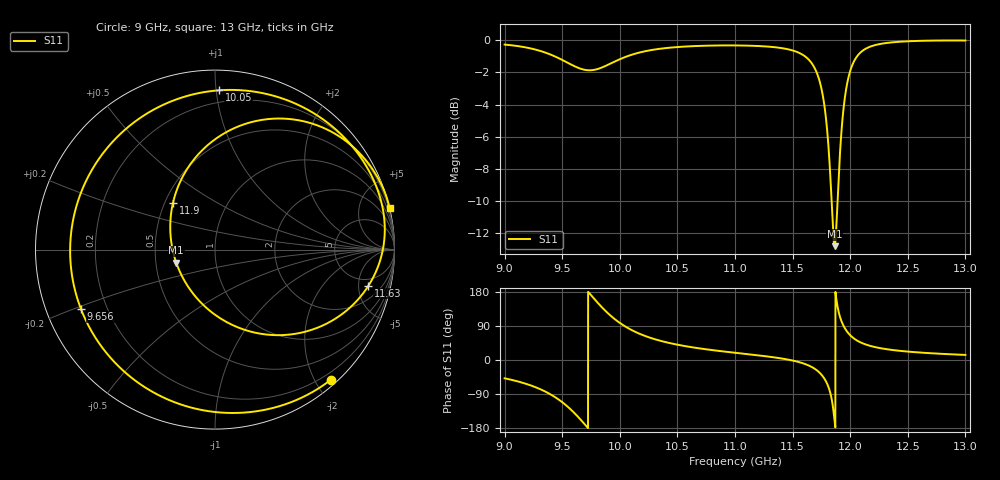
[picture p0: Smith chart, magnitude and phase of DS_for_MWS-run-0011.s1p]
! TOUCHSTONE file generated by CST DESIGN STUDIO
! Date and time: Tue Feb  4 16:42:47 2025
! Project name: C:\Work\MatlabApps\UnitCellOptimizationMatlab\CST\unitcell.cst
! Tree item: Tasks\Sweep1\SPara1\S-Parameters
! Header version: 2024
! Port assignment regex: !\s*Touchstone port\s*([0-9]+)\s*=\s*(CST MWS port|CST DES external port|CST DES block port)\s*(.+)\s* \(\"(.*)\"\)(\s*mode\s*([0-9]+))?.*
! Touchstone port assignment:
! Touchstone port 1 = CST DES external port 1 ("")
# GHz S MA R 50
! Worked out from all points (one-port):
!   4001 points, 9 GHz to 13 GHz, reference 50 ohm
!   lowest |S11| = -12.8 dB at 11.87 GHz (marker M1), VSWR 1.59, Z = 31.9 - j4.89 ohm
!   |S11| at or under -10 dB: 11.83832 GHz to 11.89022 GHz (51.91 MHz wide, 0.437 % of centre)
!   S11 on the Smith chart (normalised r, x): 9 GHz: 0.09, -2.23; 9.656 GHz: 0.11, -0.21; 10.05 GHz: 0.12, +1.02; 11.63 GHz: 3.72, -6.55; 11.9 GHz: 0.55, +0.33; 13 GHz: 0.02, +8.51
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9  0.9706 -48.3
9.137  0.9576 -58.4
9.265  0.937 -71.4
9.398  0.9038 -90.6
9.5  0.8694 -111.3
9.578  0.8407 -131.7
9.656  0.8169 -156.1
9.725  0.8072 180.0
9.794  0.8119 155.8
9.895  0.8387 123.9
10  0.8737 97.9
10.047  0.8877 88.5
10.248  0.9298 60.3
10.5  0.9537 40.4
11  0.9648 19.1
11.5  0.9307 -1.4
11.63  0.8785 -13.2
11.721  0.7735 -29.8
11.79  0.5699 -56.6
11.828  0.374 -87.6
11.865  0.2278 -161.4
11.896  0.3504 131.9
11.944  0.6213 89.1
12  0.8029 65.4
12.071  0.9028 49.4
12.165  0.9538 38.0
12.5  0.994 22.2
13  0.9995 13.4
